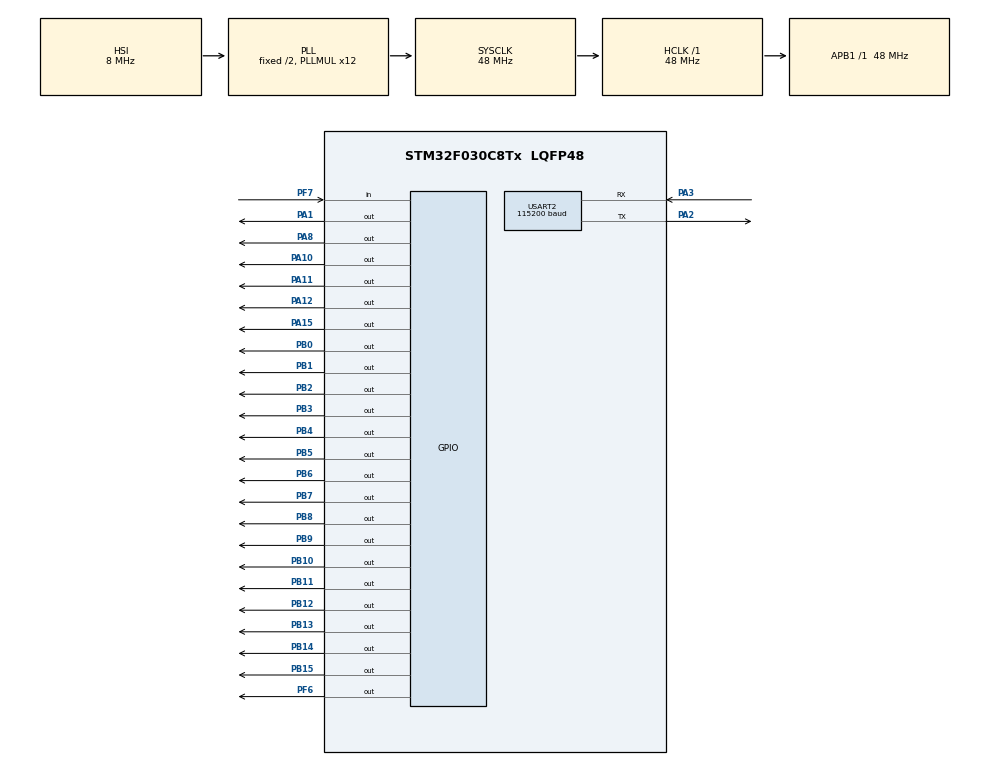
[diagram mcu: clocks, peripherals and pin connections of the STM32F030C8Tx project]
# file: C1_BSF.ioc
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Dma.Request0=USART2_RX
Dma.USART2_RX.0.Direction=DMA_PERIPH_TO_MEMORY
Dma.USART2_RX.0.Instance=DMA1_Channel5
Dma.USART2_RX.0.MemDataAlignment=DMA_MDATAALIGN_BYTE
Dma.USART2_RX.0.MemInc=DMA_MINC_ENABLE
Dma.USART2_RX.0.Mode=DMA_CIRCULAR
Dma.USART2_RX.0.PeriphDataAlignment=DMA_PDATAALIGN_BYTE
Dma.USART2_RX.0.PeriphInc=DMA_PINC_DISABLE
Dma.USART2_RX.0.Priority=DMA_PRIORITY_MEDIUM
Mcu.Family=STM32F0
Mcu.Name=STM32F030C8Tx
Mcu.Package=LQFP48
NVIC.DMA1_Channel4_5_IRQn=true\:1\:0\:true
NVIC.TIM1_BRK_UP_TRG_COM_IRQn=true\:0\:0\:false
PA1.Signal=GPIO_Output
PA10.Signal=GPIO_Output
PA11.Signal=GPIO_Output
PA12.Signal=GPIO_Output
PA13.Mode=Serial-WireDebug
PA13.Signal=SYS_SWDIO
PA14.Mode=Serial-WireDebug
PA14.Signal=SYS_SWCLK
PA15.Signal=GPIO_Output
PA2.Mode=Asynchronous
PA2.Signal=USART2_TX
PA3.Mode=Asynchronous
PA3.Signal=USART2_RX
PA8.Signal=GPIO_Output
PB0.Signal=GPIO_Output
PB1.Signal=GPIO_Output
PB10.Signal=GPIO_Output
PB11.Signal=GPIO_Output
PB12.Signal=GPIO_Output
PB13.Signal=GPIO_Output
PB14.Signal=GPIO_Output
PB15.Signal=GPIO_Output
PB2.Signal=GPIO_Output
PB3.Signal=GPIO_Output
PB4.Signal=GPIO_Output
PB5.Signal=GPIO_Output
PB6.Signal=GPIO_Output
PB7.Signal=GPIO_Output
PB8.Signal=GPIO_Output
PB9.Signal=GPIO_Output
PF6.Signal=GPIO_Output
PF7.Signal=GPIO_Input
ProjectManager.TargetToolchain=MDK-ARM V5
RCC.AHBFreq_Value=48000000
RCC.APB1Freq_Value=48000000
RCC.APB1TimFreq_Value=48000000
RCC.HCLKFreq_Value=48000000
RCC.PLLMUL=RCC_PLL_MUL12
RCC.SYSCLKFreq_VALUE=48000000
RCC.SYSCLKSource=RCC_SYSCLKSOURCE_PLLCLK
TIM1.Period=99
TIM1.Prescaler=47
USART2.BaudRate=115200
VP_TIM1_VS_ClockSourceINT.Mode=Internal
VP_WWDG_VS_WWDG.Mode=WWDG_Activate
WWDG.Counter=0x7f
WWDG.Prescaler=WWDG_PRESCALER_2
WWDG.Window=0x7f
board=C1_BSF

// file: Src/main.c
/**
  ******************************************************************************
  * File Name          : main.c
  * Description        : Main program body
  ******************************************************************************
  *
  * COPYRIGHT(c) 2016 STMicroelectronics
  *
  * Redistribution and use in source and binary forms, with or without modification,
  * are permitted provided that the following conditions are met:
  *   1. Redistributions of source code must retain the above copyright notice,
  *      this list of conditions and the following disclaimer.
  *   2. Redistributions in binary form must reproduce the above copyright notice,
  *      this list of conditions and the following disclaimer in the documentation
  *      and/or other materials provided with the distribution.
  *   3. Neither the name of STMicroelectronics nor the names of its contributors
  *      may be used to endorse or promote products derived from this software
  *      without specific prior written permission.
  *
  * THIS SOFTWARE IS PROVIDED BY THE COPYRIGHT HOLDERS AND CONTRIBUTORS "AS IS"
  * AND ANY EXPRESS OR IMPLIED WARRANTIES, INCLUDING, BUT NOT LIMITED TO, THE
  * IMPLIED WARRANTIES OF MERCHANTABILITY AND FITNESS FOR A PARTICULAR PURPOSE ARE
  * DISCLAIMED. IN NO EVENT SHALL THE COPYRIGHT HOLDER OR CONTRIBUTORS BE LIABLE
  * FOR ANY DIRECT, INDIRECT, INCIDENTAL, SPECIAL, EXEMPLARY, OR CONSEQUENTIAL
  * DAMAGES (INCLUDING, BUT NOT LIMITED TO, PROCUREMENT OF SUBSTITUTE GOODS OR
  * SERVICES; LOSS OF USE, DATA, OR PROFITS; OR BUSINESS INTERRUPTION) HOWEVER
  * CAUSED AND ON ANY THEORY OF LIABILITY, WHETHER IN CONTRACT, STRICT LIABILITY,
  * OR TORT (INCLUDING NEGLIGENCE OR OTHERWISE) ARISING IN ANY WAY OUT OF THE USE
  * OF THIS SOFTWARE, EVEN IF ADVISED OF THE POSSIBILITY OF SUCH DAMAGE.
  *
  ******************************************************************************
  */
#include "stm32f0xx_hal.h"
#include "dma.h"
#include "tim.h"
#include "usart.h"
#include "wwdg.h"
#include "gpio.h"

/* USER CODE BEGIN Includes */
#include "fpe.h"
#include "math.h"
#include "stdio.h"
#include "stdlib.h"
#include "string.h"
#include "console.h"
#include "Thread.h"
#include "Tick.h"
#include "Button.h"
#include "DelayCall.h"
#include "lcd.h"

/* USER CODE END Includes */

/* USER CODE BEGIN PV */
/* Private variables ---------------------------------------------------------*/
//UART_HandleTypeDef huart2;

/* USER CODE END PV */

void SystemClock_Config(void);

/* USER CODE BEGIN PFP */
/* Private function prototypes -----------------------------------------------*/

/* USER CODE END PFP */

/* USER CODE BEGIN 0 */
#define SYSTEM_ATUOPOFF_MS 600000 //10min
enum BUTTON_ID
{
	BUTTON_DOME = 1,
	BUTTON_TOUCH = 2,
	BUTTON_NUMBER,
};

enum STATUS_ID
{
	STATUS_INIT = 0,
	STATUS_SHOWMPM2D5,
	STATUS_POWEROFF,
};

enum LCD_DIRECTION
{
	LCD_DIR_UP,
	LCD_DIR_LEFT,
	LCD_DIR_DOWN,
	LCD_DIR_RIGHT,
};
console_t* g_main_console = NULL;
//uint32_t g_main_dustValue = 0;
uint8_t g_main_status = STATUS_INIT;
uint8_t g_lcd_scanDir = LCD_DIR_UP;
uint8_t g_dir = 0;
#define MAIN_STATUE_ADDR 0x0100
#define LCD_SCANDIR_ADDR 0x0108

#define UART2_BUFFER_SIZE 35
#define UART2_BUFFER_MASK (UART2_BUFFER_SIZE - 1)
#define DUST_BUFFER_SIZE 128
UART_HandleTypeDef* g_main_dustUart = NULL;
uint8_t g_main_dustBuffer[DUST_BUFFER_SIZE]= {0};
uint16_t g_uart2Index = 0;
uint32_t	g_main_dustValue1 = 0;
uint32_t	g_main_dustValue = 0;
uint32_t	g_main_dustValuec = 0;
uint32_t	g_main_dustValue10 = 0;

_Bool g_isIniting = 1;
_Bool g_isJustShowPm25 = 0;
uint32_t g_main_boot_tick = 0;
uint8_t g_main_refresh = 0;

uint8_t isButtonPressed(uint16_t id);

void onPowerButtonPressed(void);
void onModeButtonPressed(void);
void onMode2ButtonPressed(void);
void onTouchButtonPressed(void);

void lcd_update(void);
void dust_update(void);
void touchButton(void);

void dust_init(UART_HandleTypeDef* huart,uint8_t* buffer);

static void sensorPowerOff(void)
{
	HAL_GPIO_WritePin(GPIOA,GPIO_PIN_1,GPIO_PIN_RESET);//B2 power off
}
static void sensorPowerOn(void)
{
	HAL_GPIO_WritePin(GPIOA,GPIO_PIN_1,GPIO_PIN_SET);
}
static void hw_deinit(void)
{

	sensorPowerOff();
	__DMA1_CLK_DISABLE();
  __GPIOA_CLK_DISABLE();
  __GPIOB_CLK_DISABLE();
  __GPIOC_CLK_DISABLE();
  __GPIOD_CLK_DISABLE();
  __GPIOF_CLK_DISABLE();
}
static void loadFlashData(void)
{
	uint32_t value;
	value = fpe_read(0x0108);
	if (value != UINT32_MAX)
	{
		g_dir = value;
		lcd_setDir(g_dir);
	}
}
static void hw_init()
{
	MX_GPIO_Init();
  MX_DMA_Init();
  MX_TIM1_Init();
  MX_USART2_UART_Init();
	HAL_DMA_Init(&hdma_usart2_rx);
	HAL_Delay(100);
	dust_init(&huart2,g_main_dustBuffer);
	HAL_GPIO_WritePin(GPIOA,GPIO_PIN_1,GPIO_PIN_SET);
	HAL_Delay(50);
//	MX_USART2_UART_Init();
	lcd_init();
	lcd_clear_all(g_dir);
	HAL_Delay(50);
//	HAL_GPIO_WritePin(GPIOA,GPIO_PIN_1,GPIO_PIN_SET);
//	HAL_Delay(50);
	HAL_GPIO_WritePin(GPIOA,GPIO_PIN_15,GPIO_PIN_SET);
	HAL_Delay(50);
	dust_init(&huart2,g_main_dustBuffer);

//	g_isIniting = 1;

}

void test()
{
	uint32_t count = 0;
	count ++;
	if(count > 22222)
	{
		count = 1;
	}
	lcd_update_pm25(count,g_isJustShowPm25,g_dir);
}
/* USER CODE END 0 */

int main(void)
{

  /* MCU Configuration----------------------------------------------------------*/

  /* Reset of all peripherals, Initializes the Flash interface and the Systick. */
  HAL_Init();

  /* Configure the system clock */
  SystemClock_Config();

  /* Initialize all configured peripherals */
  MX_GPIO_Init();
  MX_DMA_Init();
  MX_TIM1_Init();
  MX_USART2_UART_Init();
  MX_WWDG_Init();

  /* USER CODE BEGIN 2 */
	  /* System interrupt init*/
  HAL_NVIC_SetPriority(SysTick_IRQn, 0, 0);

//	if (__HAL_PWR_GET_FLAG(PWR_FLAG_SB) != RESET)
//  {
 //   __HAL_PWR_CLEAR_FLAG(PWR_FLAG_SB);
//  }

//lcd_init();
	tick_init(&htim1);
	thread_init(0,tick_ms());

	button_init(BUTTON_DOME,isButtonPressed);
//	button_init(BUTTON_TOUCH,isButtonPressed);
	button_addListener(BUTTON_DOME,BUTTON_STATUS_HOLD,onPowerButtonPressed,0);
	button_addListener(BUTTON_DOME,BUTTON_STATUS_CLICKED_NO_NEXT,onModeButtonPressed,0);
	fpe_init(62,63);

	loadFlashData();
	hw_init();
	thread_quickAdd(0,delayCall_run,10,0,0);
//	thread_quickAdd(0,console_run,10,0,0);
	thread_quickAdd(0,button_run,10,0,0);
	thread_quickAdd(0,dust_update,10,1,0);
	#if DEBUG_ALL_UI
	thread_quickAdd(0,lcd_update,2000,10,0);
	#else
	thread_quickAdd(0,lcd_update,500,10,0);
	#endif

	//* tick
//	tick_add(delayCall_tick,10);
//	tick_add(console_tick,100);
	tick_add(button_tick,10);
	tick_start();
	HAL_Delay(100);

	g_main_boot_tick = tick_ms() + SYSTEM_ATUOPOFF_MS;
	lcd_setDir(g_dir);
	HAL_GPIO_WritePin(GPIOA,GPIO_PIN_15,GPIO_PIN_SET);
//	HAL_GPIO_WritePin(GPIOA,GPIO_PIN_1,GPIO_PIN_SET);
//	HAL_WWDG_Start(&hwwdg);
//	lcd_showTest();

  /* USER CODE END 2 */

  /* Infinite loop */
  while (1)
  {

  /* USER CODE BEGIN 3 */

//		HAL_Delay(100);
	thread_run(0,tick_ms(),0,0);
//	HAL_WWDG_Refresh(&hwwdg, 0x7e);
  }
  /* USER CODE END 3 */

}

/** System Clock Configuration
*/
void SystemClock_Config(void)
{

  RCC_OscInitTypeDef RCC_OscInitStruct;
  RCC_ClkInitTypeDef RCC_ClkInitStruct;

  RCC_OscInitStruct.OscillatorType = RCC_OSCILLATORTYPE_HSI;
  RCC_OscInitStruct.HSIState = RCC_HSI_ON;
  RCC_OscInitStruct.HSICalibrationValue = 16;
  RCC_OscInitStruct.PLL.PLLState = RCC_PLL_ON;
  RCC_OscInitStruct.PLL.PLLSource = RCC_PLLSOURCE_HSI;
  RCC_OscInitStruct.PLL.PLLMUL = RCC_PLL_MUL12;
  RCC_OscInitStruct.PLL.PREDIV = RCC_PREDIV_DIV1;
  HAL_RCC_OscConfig(&RCC_OscInitStruct);

  RCC_ClkInitStruct.ClockType = RCC_CLOCKTYPE_SYSCLK;
  RCC_ClkInitStruct.SYSCLKSource = RCC_SYSCLKSOURCE_PLLCLK;
  RCC_ClkInitStruct.AHBCLKDivider = RCC_SYSCLK_DIV1;
  RCC_ClkInitStruct.APB1CLKDivider = RCC_HCLK_DIV1;
  HAL_RCC_ClockConfig(&RCC_ClkInitStruct, FLASH_LATENCY_1);

  HAL_SYSTICK_Config(HAL_RCC_GetHCLKFreq()/1000);

  HAL_SYSTICK_CLKSourceConfig(SYSTICK_CLKSOURCE_HCLK);

  /* SysTick_IRQn interrupt configuration */
  HAL_NVIC_SetPriority(SysTick_IRQn, 0, 0);
}

/* USER CODE BEGIN 4 */

#define max(a,b) (a>b?a:b)
#define min(a,b) (a>b?b:a)
uint8_t isButtonPressed(uint16_t id)
{
	switch (id)
	{
		case BUTTON_DOME:
			return !HAL_GPIO_ReadPin(GPIOF,GPIO_PIN_7);
//		case BUTTON_TOUCH:
//			return !HAL_GPIO_ReadPin(GPIOD,GPIO_PIN_2);
		default:
			return 0;
	}
}

void StandbyMode_Measure(void)
{
  /* Enable Power Clock*/
  __PWR_CLK_ENABLE();

  /* Allow access to Backup */
  HAL_PWR_EnableBkUpAccess();

  /* Reset RTC Domain */
  __HAL_RCC_BACKUPRESET_FORCE();
  __HAL_RCC_BACKUPRESET_RELEASE();

  /* The Following Wakeup sequence is highly recommended prior to each Standby mode entry
     mainly  when using more than one wakeup source this is to not miss any wakeup event.
       - Disable all used wakeup sources,
       - Clear all related wakeup flags,
       - Re-enable all used wakeup sources,
       - Enter the Standby mode.
  */

  /*#### Disable all used wakeup sources: WKUP pin ###########################*/
  HAL_PWR_DisableWakeUpPin(PWR_WAKEUP_PIN1);

  /*#### Clear all related wakeup flags ######################################*/
  /* Clear PWR wake up Flag */
  __HAL_PWR_CLEAR_FLAG(PWR_FLAG_WU);

  /* Enable WKUP pin */
  HAL_PWR_EnableWakeUpPin(PWR_WAKEUP_PIN1);

  /* Request to enter STANDBY mode */
  HAL_PWR_EnterSTANDBYMode();
}

void onPowerButtonPressed(void)
{
//	console_printf(g_main_console,"Power off\r\n");
//
	if (g_main_status == STATUS_POWEROFF)
	{
		g_main_status = STATUS_INIT;
//		fpe_write(0x0100,g_main_status);
		HAL_NVIC_SystemReset();
	}
	g_main_status = STATUS_POWEROFF;
	fpe_write(0x0100,g_main_status);
	lcd_clear_all(g_dir);
//	esp8266_deinit();
//	sensorPowerOff();
//	HAL_GPIO_WritePin(GPIOF,GPIO_PIN_4,GPIO_PIN_RESET);//power
//	HAL_Delay(100);
//	HAL_GPIO_WritePin(GPIOF,GPIO_PIN_4,GPIO_PIN_SET);//power
	//debug

}

void enterSleep(void)
{

//	hw_deinit();

	HAL_Delay(100);
//	{
		GPIO_InitTypeDef GPIO_InitStruct;
		__GPIOB_CLK_ENABLE();
		__SYSCFG_CLK_ENABLE();

		GPIO_InitStruct.Pin = GPIO_PIN_7;
		GPIO_InitStruct.Pull = GPIO_NOPULL;
		GPIO_InitStruct.Speed = GPIO_SPEED_LOW;
		GPIO_InitStruct.Mode = GPIO_MODE_INPUT;
		HAL_GPIO_Init(GPIOF, &GPIO_InitStruct);

	/* Enable and set Button EXTI Interrupt to the lowest priority */
		HAL_NVIC_SetPriority(EXTI4_15_IRQn, 0x03, 0x00);
		HAL_NVIC_EnableIRQ(EXTI4_15_IRQn);
//		__GPIOB_CLK_DISABLE();
//	}
//	g_main_status = STATUS_POWEROFF;
	HAL_PWR_EnterSTOPMode(PWR_LOWPOWERREGULATOR_ON, PWR_STOPENTRY_WFI);
//	hw_init();
  GPIO_InitStruct.Pin = GPIO_PIN_7;
  GPIO_InitStruct.Mode = GPIO_MODE_INPUT;
  GPIO_InitStruct.Pull = GPIO_NOPULL;
  HAL_GPIO_Init(GPIOF, &GPIO_InitStruct);

	g_main_status = STATUS_INIT;
	g_isIniting = 1;
	//StandbyMode_Measure();
//	hw_init();
	HAL_NVIC_SystemReset();

}

uint8_t times;
static uint8_t history_status = 0;
void onModeButtonPressed(void)
{
//	g_isJustPlug = 0;
	g_isIniting = 0;
	if (g_main_status != STATUS_POWEROFF)
	{
		if(g_main_status == STATUS_INIT)
		{
			g_main_status = STATUS_SHOWMPM2D5;
		}
		if(g_dir <3)
		{
			g_dir++;
		}
		else
		{
			g_dir  = 0;
		}
		lcd_setDir(g_dir);
		fpe_write(0x0108,g_dir);
		lcd_clear_all(g_dir);
		lcd_showStaticImage(0,g_dir);
		__disable_irq();
		lcd_update_pm25(g_main_dustValue,1,g_dir);
		__enable_irq();
//		fpe_write(0x0100,g_main_status);
//		HAL_NVIC_SystemReset();
	}
	else
	{

		g_main_status = STATUS_INIT;
		lcd_clear_all(g_dir);
		g_isJustShowPm25 = 1;
		fpe_write(0x0100,g_main_status);
		g_isIniting = 1;
		HAL_GPIO_WritePin(GPIOA,GPIO_PIN_15,GPIO_PIN_SET);
//		HAL_GPIO_WritePin(GPIOA,GPIO_PIN_1,GPIO_PIN_SET);
	}
	g_main_boot_tick = tick_ms() + SYSTEM_ATUOPOFF_MS;
//	console_printf(g_main_console,"Status = %d\r\n",g_main_status);
}
void onMode2ButtonPressed(void)
{

	g_main_boot_tick = tick_ms() + SYSTEM_ATUOPOFF_MS;
}
//void onTouchButtonPressed(void)
//{
//
//	onModeButtonPressed();
//
//}
#define abs(a) (a<0?-a:a)
void lcd_update(void)
{
	static uint8_t status = STATUS_INIT;
	static uint32_t initCounter = 0;
	static uint32_t Counter = 0;
//	Counter ++;
	if(g_isIniting)
	{
		initCounter ++;
	}
	if (g_isIniting && initCounter == 3)
	{
		g_main_status = STATUS_SHOWMPM2D5;
		HAL_GPIO_WritePin(GPIOA,GPIO_PIN_1,GPIO_PIN_SET);
		g_isJustShowPm25 = 1;
		g_isIniting = 0;
		initCounter = 0;
	}
	switch (g_main_status)
	{

		case STATUS_INIT:
		{
			lcd_showStaticImage(1,g_dir);
		  break;
		}
		case STATUS_SHOWMPM2D5:
		{
			if(g_isJustShowPm25 == 1)
			{
				lcd_clear_all(g_dir);
				lcd_showStaticImage(0,g_dir);
				__disable_irq();
				lcd_update_pm25(g_main_dustValue,g_isJustShowPm25,g_dir);
				__enable_irq();
				g_isJustShowPm25 = 0;
			}
			__disable_irq();
			lcd_update_pm25(g_main_dustValue,g_isJustShowPm25,g_dir);
			__enable_irq();
		break;
		}
		case STATUS_POWEROFF:
		{
			HAL_GPIO_WritePin(GPIOA,GPIO_PIN_15,GPIO_PIN_RESET);
			HAL_GPIO_WritePin(GPIOA,GPIO_PIN_1,GPIO_PIN_RESET);
		break;
		}
		default:
			break;
	}

}

void dust_init(UART_HandleTypeDef* huart,uint8_t* buffer)
{
	//HAL_GPIO_WritePin(GPIOF,GPIO_PIN_5,GPIO_PIN_SET);
//	memset(g_uart2Buffer,UINT8_MAX-1,sizeof(g_uart2Buffer));
//	memset(g_uart2Buffer,254,sizeof(g_uart2Buffer));
	__IO uint8_t status = HAL_UART_Receive_DMA(huart,buffer, DUST_BUFFER_SIZE);
	g_main_dustUart = huart;
}
void dust_send(char* str)
{
	HAL_UART_Transmit(g_main_dustUart,(uint8_t*)str, strlen(str),10);
}
static inline uint8_t dustBuffer(uint16_t index)
{
	return g_main_dustBuffer[index&(DUST_BUFFER_SIZE-1)];
}
static inline uint32_t dustValue(uint16_t index)
{
	uint32_t toRet = 0;
	for (uint8_t i=0; i<4; i++)
	{
		toRet |=  ((uint32_t)g_main_dustBuffer[(index+i)&(DUST_BUFFER_SIZE-1)])<<(i<<3);
	}
	return toRet;
}

void dust_update(void)
{
	uint8_t match = 0;
	for(uint8_t i=0; i<DUST_BUFFER_SIZE; i++)
	{
		if(dustBuffer(i)==0x5a && dustBuffer(i+1)==0xa5 && dustBuffer(i+2)==0x34 &&dustBuffer(i+3)==0x00)
		{
			uint16_t sum = 0;
			for(uint8_t j=0; j<14; j++)
			{
				sum += dustBuffer((j<<2) + i);
				sum += dustBuffer((j<<2) + 1 + i);
				sum += dustBuffer((j<<2) + 2 + i)<<8;
//				sum += dustBuffer((j<<2) + 3 + i);
			}
			if ((((uint16_t)dustBuffer(i+58))<<8) + (dustBuffer(i+59)) == sum)
			{
				match = 1;
				g_main_dustValue1 = dustValue(i+8);
				g_main_dustValue = dustValue(i+16);
				g_main_dustValuec = dustValue(i+20);
				g_main_dustValue10 = dustValue(i+24);
				break;
			}
		}
	}
	if (match == 0)
	{
		dust_send("AT+outtypef=4\r\n");
	}
	dust_send("AT+fco\r\n");

#if DEBUG_RAND
	g_main_dustValue = rand()%4000;
#endif
}
/* USER CODE END 4 */

/************************ (C) COPYRIGHT STMicroelectronics *****END OF FILE****/
